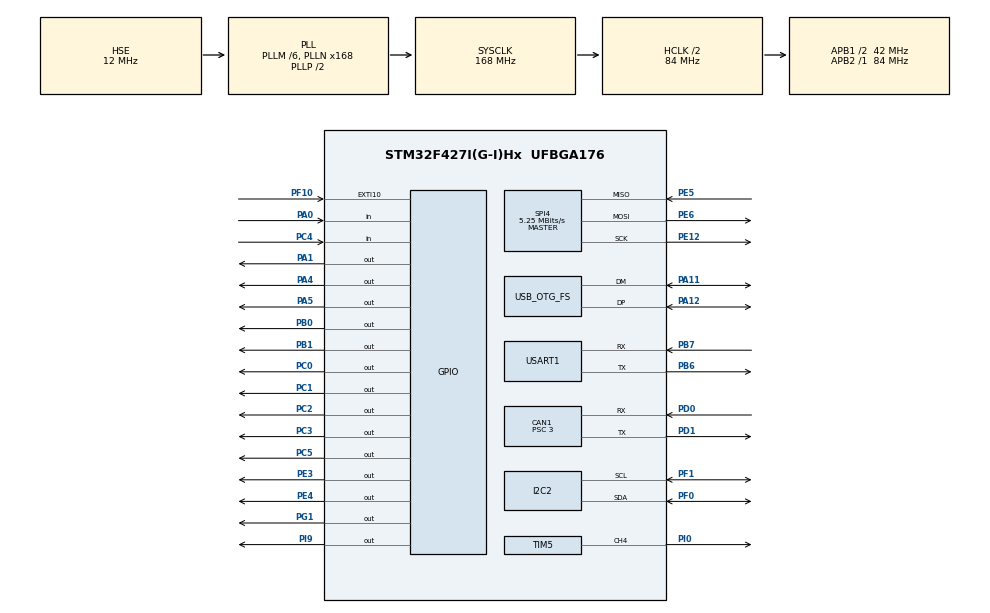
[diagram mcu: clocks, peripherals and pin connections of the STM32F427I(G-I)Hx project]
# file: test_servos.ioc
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CAN1.BS1=CAN_BS1_9TQ
CAN1.BS2=CAN_BS2_4TQ
CAN1.CalculateBaudRate=1000000
CAN1.CalculateTimeBit=1000
CAN1.CalculateTimeQuantum=71.42857142857143
CAN1.Prescaler=3
Dma.Request0=USART1_RX
Dma.Request1=SPI4_TX
Dma.SPI4_TX.1.Direction=DMA_MEMORY_TO_PERIPH
Dma.SPI4_TX.1.FIFOMode=DMA_FIFOMODE_DISABLE
Dma.SPI4_TX.1.Instance=DMA2_Stream1
Dma.SPI4_TX.1.MemDataAlignment=DMA_MDATAALIGN_BYTE
Dma.SPI4_TX.1.MemInc=DMA_MINC_ENABLE
Dma.SPI4_TX.1.Mode=DMA_NORMAL
Dma.SPI4_TX.1.PeriphDataAlignment=DMA_PDATAALIGN_BYTE
Dma.SPI4_TX.1.PeriphInc=DMA_PINC_DISABLE
Dma.SPI4_TX.1.Priority=DMA_PRIORITY_LOW
Dma.USART1_RX.0.Direction=DMA_PERIPH_TO_MEMORY
Dma.USART1_RX.0.FIFOMode=DMA_FIFOMODE_DISABLE
Dma.USART1_RX.0.Instance=DMA2_Stream2
Dma.USART1_RX.0.MemDataAlignment=DMA_MDATAALIGN_BYTE
Dma.USART1_RX.0.MemInc=DMA_MINC_ENABLE
Dma.USART1_RX.0.Mode=DMA_CIRCULAR
Dma.USART1_RX.0.PeriphDataAlignment=DMA_PDATAALIGN_BYTE
Dma.USART1_RX.0.PeriphInc=DMA_PINC_DISABLE
Dma.USART1_RX.0.Priority=DMA_PRIORITY_LOW
FREERTOS.Queues01=myQueue_screen,16,queueLcd,0,Dynamic,NULL,NULL;myQueue_lock_loading,16,uint16_t,0,Dynamic,NULL,NULL;myQueue_weight_loading,16,uint16_t,0,Dynamic,NULL,NULL;myQueue_loading_motor,16,uint16_t,0,Dynamic,NULL,NULL
FREERTOS.Tasks01=defaultTask,24,128,StartDefaultTask,Default,NULL,Dynamic,NULL,NULL;Readweight,24,128,StartTask02,Default,NULL,Dynamic,NULL,NULL;controlLock,24,128,StartTask03,Default,NULL,Dynamic,NULL,NULL;loadingTask,24,1028,StartTask04,Default,NULL,Dynamic,NULL,NULL;motor,24,128,motor_Task,Default,NULL,Dynamic,NULL,NULL;Pitch_Yaw,24,128,Pitch_Yaw_Task,As weak,NULL,Dynamic,NULL,NULL;Touchscreen,24,128,Touchscreen_Task,As weak,NULL,Dynamic,NULL,NULL;Launcher,8,128,Launcher_Task,As weak,NULL,Dynamic,NULL,NULL;Feeder,8,128,Feeder_Task,As weak,NULL,Dynamic,NULL,NULL
FREERTOS.configUSE_NEWLIB_REENTRANT=1
Mcu.Family=STM32F4
Mcu.Name=STM32F427I(G-I)Hx
Mcu.Package=UFBGA176
NVIC.CAN1_RX0_IRQn=true\:5\:0\:false\:false\:true\:true\:true\:true\:true
NVIC.DMA2_Stream1_IRQn=true\:5\:0\:false\:false\:true\:true\:false\:true\:true
NVIC.DMA2_Stream2_IRQn=true\:5\:0\:false\:false\:true\:true\:false\:true\:true
NVIC.EXTI15_10_IRQn=true\:5\:0\:false\:false\:true\:true\:true\:true\:true
NVIC.OTG_FS_IRQn=true\:5\:0\:false\:false\:true\:true\:true\:true\:true
NVIC.PriorityGroup=NVIC_PRIORITYGROUP_4
NVIC.TIM6_DAC_IRQn=true\:15\:0\:false\:false\:true\:false\:false\:true\:true
NVIC.TimeBase=TIM6_DAC_IRQn
NVIC.TimeBaseIP=TIM6
NVIC.USART1_IRQn=true\:5\:0\:false\:false\:true\:true\:true\:true\:true
PA0/WKUP.GPIO_PuPd=GPIO_PULLUP
PA0/WKUP.Signal=GPIO_Input
PA1.Signal=GPIO_Output
PA11.Mode=Device_Only
PA11.Signal=USB_OTG_FS_DM
PA12.Mode=Device_Only
PA12.Signal=USB_OTG_FS_DP
PA13.Mode=Serial_Wire
PA13.Signal=SYS_JTMS-SWDIO
PA14.Mode=Serial_Wire
PA14.Signal=SYS_JTCK-SWCLK
PA4.Signal=GPIO_Output
PA5.Signal=GPIO_Output
PB0.Signal=GPIO_Output
PB1.Signal=GPIO_Output
PB6.Mode=Asynchronous
PB6.Signal=USART1_TX
PB7.Mode=Asynchronous
PB7.Signal=USART1_RX
PC0.Signal=GPIO_Output
PC1.Signal=GPIO_Output
PC2.Signal=GPIO_Output
PC3.Signal=GPIO_Output
PC4.GPIO_PuPd=GPIO_NOPULL
PC4.Signal=GPIO_Input
PC5.Signal=GPIO_Output
PD0.Mode=CAN_Activate
PD0.Signal=CAN1_RX
PD1.Mode=CAN_Activate
PD1.Signal=CAN1_TX
PE12.Mode=Full_Duplex_Master
PE12.Signal=SPI4_SCK
PE3.Signal=GPIO_Output
PE4.Signal=GPIO_Output
PE5.Mode=Full_Duplex_Master
PE5.Signal=SPI4_MISO
PE6.Mode=Full_Duplex_Master
PE6.Signal=SPI4_MOSI
PF0.Mode=I2C
PF0.Signal=I2C2_SDA
PF1.Mode=I2C
PF1.Signal=I2C2_SCL
PF10.GPIO_ModeDefaultEXTI=GPIO_MODE_IT_FALLING
PF10.GPIO_PuPd=GPIO_PULLUP
PF10.Signal=GPXTI10
PG1.Signal=GPIO_Output
PH0/OSC_IN.Mode=HSE-External-Oscillator
PH0/OSC_IN.Signal=RCC_OSC_IN
PH1/OSC_OUT.Mode=HSE-External-Oscillator
PH1/OSC_OUT.Signal=RCC_OSC_OUT
PI0.Signal=S_TIM5_CH4
PI9.Signal=GPIO_Output
ProjectManager.HeapSize=0x200
ProjectManager.StackSize=0x400
ProjectManager.TargetToolchain=STM32CubeIDE
RCC.48MHZClocksFreq_Value=48000000
RCC.AHBCLKDivider=RCC_SYSCLK_DIV2
RCC.AHBFreq_Value=84000000
RCC.APB1CLKDivider=RCC_HCLK_DIV2
RCC.APB1Freq_Value=42000000
RCC.APB1TimFreq_Value=84000000
RCC.APB2Freq_Value=84000000
RCC.APB2TimFreq_Value=84000000
RCC.CortexFreq_Value=84000000
RCC.HCLKFreq_Value=84000000
RCC.HSE_VALUE=12000000
RCC.HSI_VALUE=16000000
RCC.LSE_VALUE=32768
RCC.PLLM=6
RCC.PLLN=168
RCC.PLLQ=7
RCC.SYSCLKFreq_VALUE=168000000
RCC.SYSCLKSource=RCC_SYSCLKSOURCE_PLLCLK
RCC.VCOOutputFreq_Value=336000000
SH.S_TIM5_CH4.0=TIM5_CH4,PWM Generation4 CH4
SPI4.BaudRatePrescaler=SPI_BAUDRATEPRESCALER_16
SPI4.CalculateBaudRate=5.25 MBits/s
SPI4.DataSize=SPI_DATASIZE_8BIT
SPI4.Direction=SPI_DIRECTION_2LINES
SPI4.Mode=SPI_MODE_MASTER
SPI4.VirtualType=VM_MASTER
TIM5.Channel-PWM\ Generation4\ CH4=TIM_CHANNEL_4
TIM5.Period=19999
TIM5.Prescaler=83
USART1.VirtualMode=VM_ASYNC
USB_DEVICE.CLASS_NAME_FS=CDC
USB_DEVICE.VirtualMode-CDC_FS=Cdc
USB_DEVICE.VirtualModeFS=Cdc_FS
USB_OTG_FS.VirtualMode=Device_Only
VP_DMA2D_VS_DMA2D.Mode=DMA2D_Activate
VP_FREERTOS_VS_CMSIS_V2.Mode=CMSIS_V2
VP_SYS_VS_tim6.Mode=TIM6
VP_USB_DEVICE_VS_USB_DEVICE_CDC_FS.Mode=CDC_FS
board=custom

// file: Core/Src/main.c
/* USER CODE BEGIN Header */
/**
  ******************************************************************************
  * @file           : main.c
  * @brief          : Main program body
  ******************************************************************************
  * @attention
  *
  * Copyright (c) 2025 STMicroelectronics.
  * All rights reserved.
  *
  * This software is licensed under terms that can be found in the LICENSE file
  * in the root directory of this software component.
  * If no LICENSE file comes with this software, it is provided AS-IS.
  *
  ******************************************************************************
  */

//========================================= Power ================================================//
// LCD Module STM32 MCU
// VCC -> DC5V / 3.3V // Power
// GND -> GND // Ground
//======================================= LCD Interface ===========================================//
// The module defaults to SPI mode
// LCD Module STM32 MCU
// SDI (MOSI) -> PE6 // SPI data write
// SDO (MISO) -> PE5 // SPI data read (optional)
//======================================= LCD Interface ===========================================//
// LCD Module STM32 MCU
// LED -> PC1 // Backlight control (or tie to 5V / 3.3V)
// SCK -> PE12 // SPI clock
// LCD_RS -> PC5 // Data / Command select
// LCD_RST -> PA5 // LCD reset
// LCD_CS -> PA4 // Chip select
//===================================== Touch (Optional) ==========================================//
// If touch is not used, these pins can be left unconnected
// Touch Module STM32 MCU
// CTP_INT -> PF10 // Touch interrupt
// CTP_SDA -> PF0 // I2C data
// CTP_RST -> PI9 // Touch reset
// CTP_SCL -> PF1 // I2C clock
//======================================= HX711 Load Cell =========================================//
// HX711 STM32 MCU
// SCLK -> PC0 // HX711 clock
// DOUT -> PC4 // HX711 data output
//==================================== Electronic Lock ============================================//
// Lock Signal STM32 MCU
// Lock_Input -> PA0 // Lock status / sense input
// Lock_Output -> PA1 // Lock / unlock control output
//================================================================================================//
/* USER CODE END Header */
#include "main.h"
#include "cmsis_os.h"
#include "usb_device.h"

/* USER CODE BEGIN Includes */
#include "remote_control.h"
#include "hx711.h"
#include "./LCD_CAP/LCD/lcd.h"
#include "./LCD_CAP/TOUCH/touch.h"
#include "./LCD_CAP/GUI/GUI.h"
#include "lvgl.h"
#include "bsp_damiao.h"
#include "motor_dm.h"
#include "motor_servo.h"
#include "motor_brushed.h"
#include "motor_safety.h"
//#include "lvgl_private.h"
#include <stdio.h>
#include <math.h>
//#include "ui.h"
#include "usbd_cdc_if.h"
#include <string.h>
/* USER CODE END Includes */

/* USER CODE BEGIN PTD */
int16_t motor_rpm1;
/* USER CODE END PTD */

/* USER CODE BEGIN PD */
#define MY_DISP_VER_RES LCD_H
#define MY_DISP_HOR_RES LCD_W
/* Declare buffer for 1/10 screen size; BYTES_PER_PIXEL will be 2 for RGB565. */
#define BYTES_PER_PIXEL (LV_COLOR_FORMAT_GET_SIZE(LV_COLOR_FORMAT_RGB565))
#define buffer_divide 10
static uint8_t buf1[LCD_W * LCD_H / buffer_divide * BYTES_PER_PIXEL];
//static uint8_t buf2[LCD_W * LCD_H / buffer_divide * BYTES_PER_PIXEL];
volatile lv_mutex_t lv_mutex;

#define USB_LEN 128
uint8_t usbTxtBuf[USB_LEN];

#define RAW_ZERO     -246337
#define RAW_KNOWN    -141436
#define WEIGHT_KNOWN 1000.0f
#define SCALE ((RAW_KNOWN - RAW_ZERO) / WEIGHT_KNOWN)
#ifndef M_PI
#define M_PI 3.14159265358979323846
#endif
/* USER CODE END PD */

CAN_HandleTypeDef hcan1;

DMA2D_HandleTypeDef hdma2d;

I2C_HandleTypeDef hi2c2;

SPI_HandleTypeDef hspi4;
DMA_HandleTypeDef hdma_spi4_tx;

TIM_HandleTypeDef htim5;

UART_HandleTypeDef huart1;
DMA_HandleTypeDef hdma_usart1_rx;

/* Definitions for defaultTask */
osThreadId_t defaultTaskHandle;
const osThreadAttr_t defaultTask_attributes = {
  .name = "defaultTask",
  .stack_size = 128 * 4,
  .priority = (osPriority_t) osPriorityNormal,
};
/* Definitions for Readweight */
osThreadId_t ReadweightHandle;
const osThreadAttr_t Readweight_attributes = {
  .name = "Readweight",
  .stack_size = 128 * 4,
  .priority = (osPriority_t) osPriorityNormal,
};
/* Definitions for controlLock */
osThreadId_t controlLockHandle;
const osThreadAttr_t controlLock_attributes = {
  .name = "controlLock",
  .stack_size = 128 * 4,
  .priority = (osPriority_t) osPriorityNormal,
};
/* Definitions for loadingTask */
osThreadId_t loadingTaskHandle;
const osThreadAttr_t loadingTask_attributes = {
  .name = "loadingTask",
  .stack_size = 1028 * 4,
  .priority = (osPriority_t) osPriorityNormal,
};
/* Definitions for motor */
osThreadId_t motorHandle;
const osThreadAttr_t motor_attributes = {
  .name = "motor",
  .stack_size = 128 * 4,
  .priority = (osPriority_t) osPriorityNormal,
};
/* Definitions for Pitch_Yaw */
osThreadId_t Pitch_YawHandle;
const osThreadAttr_t Pitch_Yaw_attributes = {
  .name = "Pitch_Yaw",
  .stack_size = 128 * 4,
  .priority = (osPriority_t) osPriorityNormal,
};
/* Definitions for Touchscreen */
osThreadId_t TouchscreenHandle;
const osThreadAttr_t Touchscreen_attributes = {
  .name = "Touchscreen",
  .stack_size = 128 * 4,
  .priority = (osPriority_t) osPriorityNormal,
};
/* Definitions for Launcher */
osThreadId_t LauncherHandle;
const osThreadAttr_t Launcher_attributes = {
  .name = "Launcher",
  .stack_size = 128 * 4,
  .priority = (osPriority_t) osPriorityLow,
};
/* Definitions for Feeder */
osThreadId_t FeederHandle;
const osThreadAttr_t Feeder_attributes = {
  .name = "Feeder",
  .stack_size = 128 * 4,
  .priority = (osPriority_t) osPriorityLow,
};
/* Definitions for myQueue_screen */
osMessageQueueId_t myQueue_screenHandle;
const osMessageQueueAttr_t myQueue_screen_attributes = {
  .name = "myQueue_screen"
};
/* Definitions for myQueue_lock_loading */
osMessageQueueId_t myQueue_lock_loadingHandle;
const osMessageQueueAttr_t myQueue_lock_loading_attributes = {
  .name = "myQueue_lock_loading"
};
/* Definitions for myQueue_weight_loading */
osMessageQueueId_t myQueue_weight_loadingHandle;
const osMessageQueueAttr_t myQueue_weight_loading_attributes = {
  .name = "myQueue_weight_loading"
};
/* Definitions for myQueue_loading_motor */
osMessageQueueId_t myQueue_loading_motorHandle;
const osMessageQueueAttr_t myQueue_loading_motor_attributes = {
  .name = "myQueue_loading_motor"
};
/* USER CODE BEGIN PV */

static uint32_t ui_stack[4096];        // 4096 words = 16 KB
static StaticTask_t ui_tcb;

static const osThreadAttr_t ui_attr = {
  .name       = "ui",
  .stack_mem  = ui_stack,
  .stack_size = sizeof(ui_stack),      // BYTES
  .cb_mem     = &ui_tcb,
  .cb_size    = sizeof(ui_tcb),
  .priority   = osPriorityNormal,
};
RC_ctrl_t rc_ctrl;
HX711 hx;
float weight;
int32_t value;
extern int16_t _width;       								///< (oriented) display width
extern int16_t _height;
extern dm_motor_t dm_pitch_motor;
static float dm_measured_rpm;
int32_t count = 450;
char buf_txt[32];
volatile lv_display_t * display1;
volatile uint8_t touch_flag;
//uint8_t Displ_SpiAvailable;
static lv_indev_t * touch_indev;
static lv_obj_t * label_weight;
static lv_obj_t * label_lock;
static lv_obj_t * label_rpm;
volatile float g_weight;
volatile GPIO_PinState g_unlock;
volatile int16_t g_motor_rpm;
GPIO_PinState unlock;
/* USER CODE END PV */

void SystemClock_Config(void);
static void MX_GPIO_Init(void);
static void MX_DMA_Init(void);
static void MX_CAN1_Init(void);
static void MX_USART1_UART_Init(void);
static void MX_SPI4_Init(void);
static void MX_DMA2D_Init(void);
static void MX_I2C2_Init(void);
static void MX_TIM5_Init(void);
void StartDefaultTask(void *argument);
void StartTask02(void *argument);
void StartTask03(void *argument);
void StartTask04(void *argument);
void motor_Task(void *argument);
void Pitch_Yaw_Task(void *argument);
void Touchscreen_Task(void *argument);
void Launcher_Task(void *argument);
void Feeder_Task(void *argument);

/* USER CODE BEGIN PFP */
static void lvgl_port_init(void);
static void touch_read_cb(lv_indev_t * indev, lv_indev_data_t * data);
static void ui_update_labels(void);

/* USER CODE END PFP */

/* USER CODE BEGIN 0 */
void setup_can(){
 CAN_FilterTypeDef can_filter_st = {0};
 can_filter_st.FilterActivation = ENABLE;
 can_filter_st.FilterMode = CAN_FILTERMODE_IDMASK;
 can_filter_st.FilterScale = CAN_FILTERSCALE_32BIT;
 can_filter_st.FilterIdHigh = 0;
 can_filter_st.FilterIdLow = 0;
 can_filter_st.FilterMaskIdHigh = 0;
 can_filter_st.FilterMaskIdLow = 0;
 can_filter_st.FilterBank=0;
 can_filter_st.FilterFIFOAssignment = CAN_RX_FIFO0;
 HAL_CAN_ConfigFilter(&hcan1, &can_filter_st);
 HAL_CAN_Start(&hcan1);
 HAL_CAN_ActivateNotification(&hcan1,CAN_IT_RX_FIFO0_MSG_PENDING | CAN_IT_RX_FIFO0_FULL| CAN_IT_RX_FIFO0_OVERRUN);
}

void HAL_CAN_RxFifo0MsgPendingCallback(CAN_HandleTypeDef *hcan){
CAN_RxHeaderTypeDef rx_header;
uint8_t rx_buffer[8];
HAL_CAN_DeactivateNotification(hcan,
  CAN_IT_RX_FIFO0_MSG_PENDING | CAN_IT_RX_FIFO0_FULL| CAN_IT_RX_FIFO0_OVERRUN);
HAL_CAN_GetRxMessage(hcan, CAN_RX_FIFO0, &rx_header, rx_buffer);

if (rx_header.StdId == 0x203)
{
	motor_rpm1 = (rx_buffer[2] << 8) + rx_buffer[3];
	g_motor_rpm = motor_rpm1;
}
/* DM4310 feedback frame: StdId = master ID (0x00). Byte0 low nibble holds motor ID. */
dm_motor_manager_on_can_rx(rx_header.StdId, rx_buffer);
if (rx_header.StdId == 0x00) {
	uint8_t motor_id = rx_buffer[0] & 0x0F;
	if (motor_id == (dm_pitch_motor.id & 0x0F)) {
		dm_measured_rpm = dm_pitch_motor.para.vel * (60.0f / (2.0f * (float)M_PI));
		g_motor_rpm = (int16_t)dm_measured_rpm;
	}
}

HAL_CAN_ActivateNotification(hcan,
  CAN_IT_RX_FIFO0_MSG_PENDING | CAN_IT_RX_FIFO0_FULL| CAN_IT_RX_FIFO0_OVERRUN);
}

void ctrl_motor(int16_t torque1){
 uint8_t tx_msg[8];
 CAN_TxHeaderTypeDef CAN_tx_message;
 uint32_t send_mail_box;
 CAN_tx_message.IDE = CAN_ID_STD;
 CAN_tx_message.RTR = CAN_RTR_DATA;
 CAN_tx_message.DLC = 0x08;
 CAN_tx_message.StdId = 0x200;
 tx_msg[4] = torque1>>8;
 tx_msg[5] = torque1;
 HAL_CAN_AddTxMessage(&hcan1, &CAN_tx_message, tx_msg, &send_mail_box);
}

#define KP 10
#define KI 0.1
#define KD 0
#define INT_MAX 5000
int16_t pid_lol(int16_t setpt, int16_t curr_pt){
	static float integral;
	static float prev_error;
	float error = setpt - curr_pt;
	integral += error * KI;
	integral = (integral > INT_MAX) ? INT_MAX : (integral < -INT_MAX) ? -INT_MAX : integral;
	float diff = (prev_error - error) * KD;
	prev_error = error;
	return (error * KP) + integral + diff;

}

#define SPEED rc_ctrl.rc.ch[0]

void HAL_GPIO_EXTI_Callback(uint16_t GPIO_Pin) {
    if (GPIO_Pin == GPIO_PIN_10) {
        touch_flag = 1;
    }
}

void tft_set_addr_window(uint16_t x0,uint16_t y0,uint16_t x1,uint16_t y1)
{
    uint8_t caset[4] = { x0>>8, x0&0xFF, x1>>8, x1&0xFF };
    uint8_t raset[4] = { y0>>8, y0&0xFF, y1>>8, y1&0xFF };

    LCD_WR_REG(0x2A);
    LCD_WR_DATA(caset[0]);
    LCD_WR_DATA(caset[1]);
    LCD_WR_DATA(caset[2]);
    LCD_WR_DATA(caset[3]);

    LCD_WR_REG(0x2B);
    LCD_WR_DATA(raset[0]);
    LCD_WR_DATA(raset[1]);
    LCD_WR_DATA(raset[2]);
    LCD_WR_DATA(raset[3]);

    LCD_WR_REG(0x2C); // RAMWR
}

void tft_put_pixel(uint16_t x,uint16_t y,uint16_t color)
{
    tft_set_addr_window(x,y,x,y);
    Lcd_WriteData_16Bit(color);
}

void my_flush_cb(lv_display_t * display, const lv_area_t * area, uint8_t * px_map)
{
    uint32_t w = (uint32_t)(area->x2 - area->x1 + 1);
    uint32_t h = (uint32_t)(area->y2 - area->y1 + 1);
    uint32_t size = w * h * BYTES_PER_PIXEL;

    LCD_SetWindows(area->x1, area->y1, area->x2, area->y2);
    LCD_CS_CLR;
    LCD_RS_SET;
    while (size > 0U) {
      uint16_t chunk = (size > 0xFFFFU) ? 0xFFFFU : (uint16_t)size;
      HAL_SPI_Transmit(&hspi4, px_map, chunk, HAL_MAX_DELAY);
      px_map += chunk;
      size -= chunk;
    }
    LCD_CS_SET;
    lv_display_flush_ready(display);
}

//int32_t get_var_counter(){
//	return count;
//}

//void set_var_counter(int32_t value){
//	count = value;
//}

static void lvgl_port_init(void)
{
  lv_init();
  lv_tick_set_cb(HAL_GetTick);

  display1 = lv_display_create(MY_DISP_HOR_RES, MY_DISP_VER_RES);
  lv_display_set_color_format((lv_display_t *)display1, LV_COLOR_FORMAT_RGB565_SWAPPED);
  lv_display_set_buffers(display1, buf1, NULL, sizeof(buf1), LV_DISPLAY_RENDER_MODE_PARTIAL);
  lv_display_set_flush_cb(display1, my_flush_cb);

  touch_indev = lv_indev_create();
  lv_indev_set_type(touch_indev, LV_INDEV_TYPE_POINTER);
  lv_indev_set_read_cb(touch_indev, touch_read_cb);
  lv_indev_set_display(touch_indev, (lv_display_t *)display1);
}

static void touch_read_cb(lv_indev_t * indev, lv_indev_data_t * data)
{
  (void)indev;
  if (tp_dev.scan) {
    tp_dev.scan();
  }

  if (tp_dev.sta & TP_PRES_DOWN) {
    data->state = LV_INDEV_STATE_PRESSED;
    data->point.x = tp_dev.x[0];
    data->point.y = tp_dev.y[0];
  } else {
    data->state = LV_INDEV_STATE_RELEASED;
  }
}

void ui_init1(void) {
  lv_obj_t * screen = lv_scr_act();
  lv_obj_set_style_bg_color(screen, lv_color_hex(0x101820), 0);
  lv_obj_set_style_text_color(screen, lv_color_hex(0xE0E6ED), 0);

  lv_obj_t * root = lv_obj_create(screen);
  lv_obj_set_size(root, LV_PCT(100), LV_PCT(100));
  lv_obj_set_style_pad_all(root, 16, 0);
  lv_obj_set_style_pad_gap(root, 12, 0);
  lv_obj_set_flex_flow(root, LV_FLEX_FLOW_COLUMN);
  lv_obj_set_flex_align(root, LV_FLEX_ALIGN_START, LV_FLEX_ALIGN_START, LV_FLEX_ALIGN_START);

  lv_obj_t * title = lv_label_create(root);
  lv_label_set_text(title, "Prototype3 Status");

  label_weight = lv_label_create(root);
  lv_label_set_text(label_weight, "Weight: --.- g");

  label_lock = lv_label_create(root);
  lv_label_set_text(label_lock, "Lock status: --");

  label_rpm = lv_label_create(root);
  lv_label_set_text(label_rpm, "Motor RPM: --");
}

static void ui_update_labels(void)
{
  static int32_t last_weight_centi = 0x7fffffff;
  static int16_t last_rpm = 0x7fff;
  static GPIO_PinState last_lock = GPIO_PIN_SET;
  char line[32];

  int32_t weight_centi = (int32_t)(g_weight * 100.0f);
  if (label_weight && weight_centi != last_weight_centi) {
    snprintf(line, sizeof(line), "Weight: %.2f g", g_weight);
    lv_label_set_text(label_weight, line);
    last_weight_centi = weight_centi;
  }

  if (label_lock && g_unlock != last_lock) {
    snprintf(line, sizeof(line), "Lock status: %s", (g_unlock ? "unlock" : "lock"));
    lv_label_set_text(label_lock, line);
    last_lock = g_unlock;
  }

  if (label_rpm && g_motor_rpm != last_rpm) {
    snprintf(line, sizeof(line), "Motor RPM: %d", g_motor_rpm);
    lv_label_set_text(label_rpm, line);
    last_rpm = g_motor_rpm;
  }
}

uint8_t usbTxBuf[USB_LEN];
uint8_t usbRxBuf[USB_LEN];

uint16_t usbTxBufLen = 0;
uint16_t usbRxBufLen = 0;

uint8_t  usbRxFlag 	 = 0;

//void my_log_cb(lv_log_level_t level, const char *msg)
//{
//    static uint8_t line[USB_LEN];
//    size_t n = strlen(msg);
//    if (n > USB_LEN - 3) n = USB_LEN - 3;
//    memcpy(line, msg, n);
//    line[n++] = '\r';
//    line[n++] = '\n';
//    line[n] = '\0';
//    CDC_Transmit_FS(line, (uint16_t)n);
//}

/* USER CODE END 0 */

int main(void)
{

  /* MCU Configuration--------------------------------------------------------*/

  /* Reset of all peripherals, Initializes the Flash interface and the Systick. */
  HAL_Init();

  /* Configure the system clock */
  SystemClock_Config();

  /* Initialize all configured peripherals */
  MX_GPIO_Init();
  MX_DMA_Init();
  MX_CAN1_Init();
  MX_USART1_UART_Init();
  MX_SPI4_Init();
  MX_DMA2D_Init();
  MX_I2C2_Init();
  MX_TIM5_Init();
  /* USER CODE BEGIN 2 */
  MX_USB_DEVICE_Init();

//  HAL_GPIO_WritePin(GPIOE, GPIO_PIN_4, GPIO_PIN_SET);
//  HAL_GPIO_WritePin(GPIOB, GPIO_PIN_1, GPIO_PIN_SET);
  setup_can();
  remote_control_init();
  hx711_init(&hx, GPIOC, GPIO_PIN_4, GPIOC, GPIO_PIN_0, HX711_GAIN_128);
  hx711_set_scale(&hx, SCALE);
  hx711_set_offset(&hx, RAW_ZERO);
  LCD_Init();
  TP_Init();

  lvgl_port_init();
  ui_init1();
//  uint32_t counting = 0;
//  uint32_t counter = 0;
  /* USER CODE END 2 */

  /* Init scheduler */
  osKernelInitialize();

  /* USER CODE BEGIN RTOS_MUTEX */
  /* add mutexes, ... */
//  lv_mutex_init(&lv_mutex);
  /* USER CODE END RTOS_MUTEX */

  /* Create the queue(s) */
  /* creation of myQueue_screen */
//  myQueue_screenHandle = osMessageQueueNew (16, sizeof(queueLcd), &myQueue_screen_attributes);
//
//  /* creation of myQueue_lock_loading */
//  myQueue_lock_loadingHandle = osMessageQueueNew (16, sizeof(uint16_t), &myQueue_lock_loading_attributes);
//
//  /* creation of myQueue_weight_loading */
//  myQueue_weight_loadingHandle = osMessageQueueNew (16, sizeof(uint16_t), &myQueue_weight_loading_attributes);
//
//  /* creation of myQueue_loading_motor */
//  myQueue_loading_motorHandle = osMessageQueueNew (16, sizeof(uint16_t), &myQueue_loading_motor_attributes);

  /* Create the thread(s) */
  /* creation of defaultTask */
  defaultTaskHandle = osThreadNew(StartDefaultTask, NULL, &defaultTask_attributes);

  /* creation of Readweight */
//  ReadweightHandle = osThreadNew(StartTask02, NULL, &Readweight_attributes);
//
//  /* creation of controlLock */
//  controlLockHandle = osThreadNew(StartTask03, NULL, &controlLock_attributes);
//
//  /* creation of loadingTask */
//  loadingTaskHandle = osThreadNew(StartTask04, NULL, &loadingTask_attributes);
//
//  /* creation of motor */
//  motorHandle = osThreadNew(motor_Task, NULL, &motor_attributes);
//
//  /* creation of Pitch_Yaw */
//  Pitch_YawHandle = osThreadNew(Pitch_Yaw_Task, NULL, &Pitch_Yaw_attributes);
//
//  /* creation of Touchscreen */
//  TouchscreenHandle = osThreadNew(Touchscreen_Task, NULL, &Touchscreen_attributes);
//
//  /* creation of Launcher */
//  LauncherHandle = osThreadNew(Launcher_Task, NULL, &Launcher_attributes);
//
//  /* creation of Feeder */
//  FeederHandle = osThreadNew(Feeder_Task, NULL, &Feeder_attributes);

  /* Start scheduler */
  osKernelStart();

  /* We should never get here as control is now taken by the scheduler */
  /* Infinite loop */
  while (1)
  {

  }
}

void SystemClock_Config(void)
{
  RCC_OscInitTypeDef RCC_OscInitStruct = {0};
  RCC_ClkInitTypeDef RCC_ClkInitStruct = {0};

  /** Configure the main internal regulator output voltage
  */
  __HAL_RCC_PWR_CLK_ENABLE();
  __HAL_PWR_VOLTAGESCALING_CONFIG(PWR_REGULATOR_VOLTAGE_SCALE3);

  /** Initializes the RCC Oscillators according to the specified parameters
  * in the RCC_OscInitTypeDef structure.
  */
  RCC_OscInitStruct.OscillatorType = RCC_OSCILLATORTYPE_HSE;
  RCC_OscInitStruct.HSEState = RCC_HSE_ON;
  RCC_OscInitStruct.PLL.PLLState = RCC_PLL_ON;
  RCC_OscInitStruct.PLL.PLLSource = RCC_PLLSOURCE_HSE;
  RCC_OscInitStruct.PLL.PLLM = 6;
  RCC_OscInitStruct.PLL.PLLN = 168;
  RCC_OscInitStruct.PLL.PLLP = RCC_PLLP_DIV2;
  RCC_OscInitStruct.PLL.PLLQ = 7;
  if (HAL_RCC_OscConfig(&RCC_OscInitStruct) != HAL_OK)
  {
    Error_Handler();
  }

  /** Initializes the CPU, AHB and APB buses clocks
  */
  RCC_ClkInitStruct.ClockType = RCC_CLOCKTYPE_HCLK|RCC_CLOCKTYPE_SYSCLK
                              |RCC_CLOCKTYPE_PCLK1|RCC_CLOCKTYPE_PCLK2;
  RCC_ClkInitStruct.SYSCLKSource = RCC_SYSCLKSOURCE_PLLCLK;
  RCC_ClkInitStruct.AHBCLKDivider = RCC_SYSCLK_DIV2;
  RCC_ClkInitStruct.APB1CLKDivider = RCC_HCLK_DIV2;
  RCC_ClkInitStruct.APB2CLKDivider = RCC_HCLK_DIV1;

  if (HAL_RCC_ClockConfig(&RCC_ClkInitStruct, FLASH_LATENCY_2) != HAL_OK)
  {
    Error_Handler();
  }
}

static void MX_CAN1_Init(void)
{

  hcan1.Instance = CAN1;
  hcan1.Init.Prescaler = 3;
  hcan1.Init.Mode = CAN_MODE_NORMAL;
  hcan1.Init.SyncJumpWidth = CAN_SJW_1TQ;
  hcan1.Init.TimeSeg1 = CAN_BS1_9TQ;
  hcan1.Init.TimeSeg2 = CAN_BS2_4TQ;
  hcan1.Init.TimeTriggeredMode = DISABLE;
  hcan1.Init.AutoBusOff = DISABLE;
  hcan1.Init.AutoWakeUp = DISABLE;
  hcan1.Init.AutoRetransmission = DISABLE;
  hcan1.Init.ReceiveFifoLocked = DISABLE;
  hcan1.Init.TransmitFifoPriority = DISABLE;
  if (HAL_CAN_Init(&hcan1) != HAL_OK)
  {
    Error_Handler();
  }

}

static void MX_DMA2D_Init(void)
{

  hdma2d.Instance = DMA2D;
  hdma2d.Init.Mode = DMA2D_M2M;
  hdma2d.Init.ColorMode = DMA2D_OUTPUT_ARGB8888;
  hdma2d.Init.OutputOffset = 0;
  hdma2d.LayerCfg[1].InputOffset = 0;
  hdma2d.LayerCfg[1].InputColorMode = DMA2D_INPUT_ARGB8888;
  hdma2d.LayerCfg[1].AlphaMode = DMA2D_NO_MODIF_ALPHA;
  hdma2d.LayerCfg[1].InputAlpha = 0;
  if (HAL_DMA2D_Init(&hdma2d) != HAL_OK)
  {
    Error_Handler();
  }
  if (HAL_DMA2D_ConfigLayer(&hdma2d, 1) != HAL_OK)
  {
    Error_Handler();
  }

}

static void MX_I2C2_Init(void)
{

  hi2c2.Instance = I2C2;
  hi2c2.Init.ClockSpeed = 100000;
  hi2c2.Init.DutyCycle = I2C_DUTYCYCLE_2;
  hi2c2.Init.OwnAddress1 = 0;
  hi2c2.Init.AddressingMode = I2C_ADDRESSINGMODE_7BIT;
  hi2c2.Init.DualAddressMode = I2C_DUALADDRESS_DISABLE;
  hi2c2.Init.OwnAddress2 = 0;
  hi2c2.Init.GeneralCallMode = I2C_GENERALCALL_DISABLE;
  hi2c2.Init.NoStretchMode = I2C_NOSTRETCH_DISABLE;
  if (HAL_I2C_Init(&hi2c2) != HAL_OK)
  {
    Error_Handler();
  }

  /** Configure Analogue filter
  */
  if (HAL_I2CEx_ConfigAnalogFilter(&hi2c2, I2C_ANALOGFILTER_ENABLE) != HAL_OK)
  {
    Error_Handler();
  }

  /** Configure Digital filter
  */
  if (HAL_I2CEx_ConfigDigitalFilter(&hi2c2, 0) != HAL_OK)
  {
    Error_Handler();
  }

}

static void MX_SPI4_Init(void)
{

  /* SPI4 parameter configuration*/
  hspi4.Instance = SPI4;
  hspi4.Init.Mode = SPI_MODE_MASTER;
  hspi4.Init.Direction = SPI_DIRECTION_2LINES;
  hspi4.Init.DataSize = SPI_DATASIZE_8BIT;
  hspi4.Init.CLKPolarity = SPI_POLARITY_LOW;
  hspi4.Init.CLKPhase = SPI_PHASE_1EDGE;
  hspi4.Init.NSS = SPI_NSS_SOFT;
  hspi4.Init.BaudRatePrescaler = SPI_BAUDRATEPRESCALER_16;
  hspi4.Init.FirstBit = SPI_FIRSTBIT_MSB;
  hspi4.Init.TIMode = SPI_TIMODE_DISABLE;
  hspi4.Init.CRCCalculation = SPI_CRCCALCULATION_DISABLE;
  hspi4.Init.CRCPolynomial = 10;
  if (HAL_SPI_Init(&hspi4) != HAL_OK)
  {
    Error_Handler();
  }

}

static void MX_TIM5_Init(void)
{

  TIM_MasterConfigTypeDef sMasterConfig = {0};
  TIM_OC_InitTypeDef sConfigOC = {0};

  htim5.Instance = TIM5;
  htim5.Init.Prescaler = 83;
  htim5.Init.CounterMode = TIM_COUNTERMODE_UP;
  htim5.Init.Period = 19999;
  htim5.Init.ClockDivision = TIM_CLOCKDIVISION_DIV1;
  htim5.Init.AutoReloadPreload = TIM_AUTORELOAD_PRELOAD_DISABLE;
  if (HAL_TIM_PWM_Init(&htim5) != HAL_OK)
  {
    Error_Handler();
  }
  sMasterConfig.MasterOutputTrigger = TIM_TRGO_RESET;
  sMasterConfig.MasterSlaveMode = TIM_MASTERSLAVEMODE_DISABLE;
  if (HAL_TIMEx_MasterConfigSynchronization(&htim5, &sMasterConfig) != HAL_OK)
  {
    Error_Handler();
  }
  sConfigOC.OCMode = TIM_OCMODE_PWM1;
  sConfigOC.Pulse = 0;
  sConfigOC.OCPolarity = TIM_OCPOLARITY_HIGH;
  sConfigOC.OCFastMode = TIM_OCFAST_DISABLE;
  if (HAL_TIM_PWM_ConfigChannel(&htim5, &sConfigOC, TIM_CHANNEL_4) != HAL_OK)
  {
    Error_Handler();
  }
  HAL_TIM_MspPostInit(&htim5);

}

static void MX_USART1_UART_Init(void)
{

  huart1.Instance = USART1;
  huart1.Init.BaudRate = 115200;
  huart1.Init.WordLength = UART_WORDLENGTH_8B;
  huart1.Init.StopBits = UART_STOPBITS_1;
  huart1.Init.Parity = UART_PARITY_NONE;
  huart1.Init.Mode = UART_MODE_TX_RX;
  huart1.Init.HwFlowCtl = UART_HWCONTROL_NONE;
  huart1.Init.OverSampling = UART_OVERSAMPLING_16;
  if (HAL_UART_Init(&huart1) != HAL_OK)
  {
    Error_Handler();
  }

}

static void MX_DMA_Init(void)
{

  /* DMA controller clock enable */
  __HAL_RCC_DMA2_CLK_ENABLE();

  /* DMA interrupt init */
  /* DMA2_Stream1_IRQn interrupt configuration */
  HAL_NVIC_SetPriority(DMA2_Stream1_IRQn, 5, 0);
  HAL_NVIC_EnableIRQ(DMA2_Stream1_IRQn);
  /* DMA2_Stream2_IRQn interrupt configuration */
  HAL_NVIC_SetPriority(DMA2_Stream2_IRQn, 5, 0);
  HAL_NVIC_EnableIRQ(DMA2_Stream2_IRQn);

}

static void MX_GPIO_Init(void)
{
  GPIO_InitTypeDef GPIO_InitStruct = {0};

  /* GPIO Ports Clock Enable */
  __HAL_RCC_GPIOE_CLK_ENABLE();
  __HAL_RCC_GPIOA_CLK_ENABLE();
  __HAL_RCC_GPIOB_CLK_ENABLE();
  __HAL_RCC_GPIOD_CLK_ENABLE();
  __HAL_RCC_GPIOI_CLK_ENABLE();
  __HAL_RCC_GPIOF_CLK_ENABLE();
  __HAL_RCC_GPIOH_CLK_ENABLE();
  __HAL_RCC_GPIOC_CLK_ENABLE();
  __HAL_RCC_GPIOG_CLK_ENABLE();

  /*Configure GPIO pin Output Level */
  HAL_GPIO_WritePin(GPIOE, GPIO_PIN_3|GPIO_PIN_4, GPIO_PIN_RESET);

  /*Configure GPIO pin Output Level */
  HAL_GPIO_WritePin(GPIOI, GPIO_PIN_9, GPIO_PIN_RESET);

  /*Configure GPIO pin Output Level */
  HAL_GPIO_WritePin(GPIOC, GPIO_PIN_0|GPIO_PIN_1|GPIO_PIN_2|GPIO_PIN_3
                          |GPIO_PIN_5, GPIO_PIN_RESET);

  /*Configure GPIO pin Output Level */
  HAL_GPIO_WritePin(GPIOG, GPIO_PIN_1, GPIO_PIN_RESET);

  /*Configure GPIO pin Output Level */
  HAL_GPIO_WritePin(GPIOA, GPIO_PIN_1|GPIO_PIN_4|GPIO_PIN_5, GPIO_PIN_RESET);

  /*Configure GPIO pin Output Level */
  HAL_GPIO_WritePin(GPIOB, GPIO_PIN_1|GPIO_PIN_0, GPIO_PIN_RESET);

  /*Configure GPIO pins : PE3 PE4 */
  GPIO_InitStruct.Pin = GPIO_PIN_3|GPIO_PIN_4;
  GPIO_InitStruct.Mode = GPIO_MODE_OUTPUT_PP;
  GPIO_InitStruct.Pull = GPIO_NOPULL;
  GPIO_InitStruct.Speed = GPIO_SPEED_FREQ_LOW;
  HAL_GPIO_Init(GPIOE, &GPIO_InitStruct);

  /*Configure GPIO pin : PI9 */
  GPIO_InitStruct.Pin = GPIO_PIN_9;
  GPIO_InitStruct.Mode = GPIO_MODE_OUTPUT_PP;
  GPIO_InitStruct.Pull = GPIO_NOPULL;
  GPIO_InitStruct.Speed = GPIO_SPEED_FREQ_LOW;
  HAL_GPIO_Init(GPIOI, &GPIO_InitStruct);

  /*Configure GPIO pin : PF10 */
  GPIO_InitStruct.Pin = GPIO_PIN_10;
  GPIO_InitStruct.Mode = GPIO_MODE_IT_FALLING;
  GPIO_InitStruct.Pull = GPIO_PULLUP;
  HAL_GPIO_Init(GPIOF, &GPIO_InitStruct);

  /*Configure GPIO pins : PC0 PC1 PC2 PC3
                           PC5 */
  GPIO_InitStruct.Pin = GPIO_PIN_0|GPIO_PIN_1|GPIO_PIN_2|GPIO_PIN_3
                          |GPIO_PIN_5;
  GPIO_InitStruct.Mode = GPIO_MODE_OUTPUT_PP;
  GPIO_InitStruct.Pull = GPIO_NOPULL;
  GPIO_InitStruct.Speed = GPIO_SPEED_FREQ_LOW;
  HAL_GPIO_Init(GPIOC, &GPIO_InitStruct);

  /*Configure GPIO pin : PG1 */
  GPIO_InitStruct.Pin = GPIO_PIN_1;
  GPIO_InitStruct.Mode = GPIO_MODE_OUTPUT_PP;
  GPIO_InitStruct.Pull = GPIO_NOPULL;
  GPIO_InitStruct.Speed = GPIO_SPEED_FREQ_LOW;
  HAL_GPIO_Init(GPIOG, &GPIO_InitStruct);

  /*Configure GPIO pins : PA1 PA4 PA5 */
  GPIO_InitStruct.Pin = GPIO_PIN_1|GPIO_PIN_4|GPIO_PIN_5;
  GPIO_InitStruct.Mode = GPIO_MODE_OUTPUT_PP;
  GPIO_InitStruct.Pull = GPIO_NOPULL;
  GPIO_InitStruct.Speed = GPIO_SPEED_FREQ_LOW;
  HAL_GPIO_Init(GPIOA, &GPIO_InitStruct);

  /*Configure GPIO pin : PA0 */
  GPIO_InitStruct.Pin = GPIO_PIN_0;
  GPIO_InitStruct.Mode = GPIO_MODE_INPUT;
  GPIO_InitStruct.Pull = GPIO_PULLUP;
  HAL_GPIO_Init(GPIOA, &GPIO_InitStruct);

  /*Configure GPIO pin : PC4 */
  GPIO_InitStruct.Pin = GPIO_PIN_4;
  GPIO_InitStruct.Mode = GPIO_MODE_INPUT;
  GPIO_InitStruct.Pull = GPIO_NOPULL;
  HAL_GPIO_Init(GPIOC, &GPIO_InitStruct);

  /*Configure GPIO pins : PB1 PB0 */
  GPIO_InitStruct.Pin = GPIO_PIN_1|GPIO_PIN_0;
  GPIO_InitStruct.Mode = GPIO_MODE_OUTPUT_PP;
  GPIO_InitStruct.Pull = GPIO_NOPULL;
  GPIO_InitStruct.Speed = GPIO_SPEED_FREQ_LOW;
  HAL_GPIO_Init(GPIOB, &GPIO_InitStruct);

  /* EXTI interrupt init*/
  HAL_NVIC_SetPriority(EXTI15_10_IRQn, 5, 0);
  HAL_NVIC_EnableIRQ(EXTI15_10_IRQn);

}

void StartDefaultTask(void *argument)
{
  /* init code for USB_DEVICE */
  MX_USB_DEVICE_Init();
  /* USER CODE BEGIN 5 */
	int start_position = 1500;
	int current_position = 1500;
	__HAL_TIM_SET_COMPARE(&htim5, TIM_CHANNEL_4, start_position);
	HAL_TIM_PWM_Start(&htim5, TIM_CHANNEL_4);
//  uint32_t counting = 0;
//
//  int counter = 42;
  /* Infinite loop */
  for(;;)
  {
	__HAL_TIM_SET_COMPARE(&htim5, TIM_CHANNEL_4, current_position);
    osDelay(100);
  }
  /* USER CODE END 5 */
}

void StartTask02(void *argument)
{
  /* USER CODE BEGIN StartTask02 */
  float curr_weight;
  /* Infinite loop */
  for(;;)
  {
    curr_weight = hx711_get_units(&hx, 10);
    weight = curr_weight;
    g_weight = curr_weight;
    (void)osMessageQueuePut(myQueue_weight_loadingHandle, &curr_weight, 0, 0);
    osDelay(10);
  }
  /* USER CODE END StartTask02 */
}

void StartTask03(void *argument)
{
  /* USER CODE BEGIN StartTask03 */
  unlock = HAL_GPIO_ReadPin(GPIOA, GPIO_PIN_0);
  g_unlock = unlock;
  /* Infinite loop */
  for(;;)
  {
    GPIO_PinState curr = HAL_GPIO_ReadPin(GPIOA, GPIO_PIN_0);
    if (unlock != curr){
      unlock = curr;
      g_unlock = curr;
    }

    if (rc_ctrl.rc.s[1] == 1 && !unlock){
      HAL_GPIO_WritePin(GPIOA, GPIO_PIN_1, GPIO_PIN_SET);
      osDelay(10);
      HAL_GPIO_WritePin(GPIOA, GPIO_PIN_1, GPIO_PIN_RESET);
    }

    osDelay(1);
  }
  /* USER CODE END StartTask03 */
}

void StartTask04(void *argument)
{
  /* USER CODE BEGIN StartTask04 */
  #define FORWARD 200
  #define BACKWARD -200
  float target = 1000.0f;
  float tol = 50.0f;
  enum { SEEK_LOCK_CW, LOCKED, REVERSE_TO_WEIGHT, HOLD } state = SEEK_LOCK_CW;

  float curr_weight = 0.0f;
  float curr_weight_buffer;
  int16_t loadingMotor = 200;
  /* Infinite loop */
  for(;;)
  {
    if (osMessageQueueGetCount(myQueue_weight_loadingHandle) > 0){
      osStatus_t st = osMessageQueueGet(myQueue_weight_loadingHandle, &curr_weight_buffer, NULL, osWaitForever);
      if (st == osOK) {
        curr_weight = curr_weight_buffer;
      }
    }
    switch (state) {
    case SEEK_LOCK_CW:
      loadingMotor = FORWARD;
      if (!unlock) state = REVERSE_TO_WEIGHT;
      break;
    case REVERSE_TO_WEIGHT:
      if (curr_weight < target - tol) {
        loadingMotor = BACKWARD;
      }
      else if (curr_weight > target + tol){
        loadingMotor = FORWARD;
      }
      else {
        loadingMotor = 0;
      }
      if (unlock) state = SEEK_LOCK_CW;
      break;
    }

    (void)osMessageQueuePut(myQueue_loading_motorHandle, &loadingMotor, 0, 0);
    osDelay(1);
  }
  /* USER CODE END StartTask04 */
}

void motor_Task(void *argument)
{
  for(;;)
  {
    osDelay(1);
  }
}

__weak void Pitch_Yaw_Task(void *argument)
{
  for(;;)
  {
    osDelay(1);
  }
}

__weak void Touchscreen_Task(void *argument)
{
  for(;;)
  {
    osDelay(1);
  }
}

__weak void Launcher_Task(void *argument)
{
  for(;;)
  {
    osDelay(1);
  }
}

__weak void Feeder_Task(void *argument)
{
  for(;;)
  {
    osDelay(1);
  }
}

void HAL_TIM_PeriodElapsedCallback(TIM_HandleTypeDef *htim)
{
  if (htim->Instance == TIM6) {
    HAL_IncTick();
  }
}

void Error_Handler(void)
{
  __disable_irq();
  while (1)
  {
  }
}
